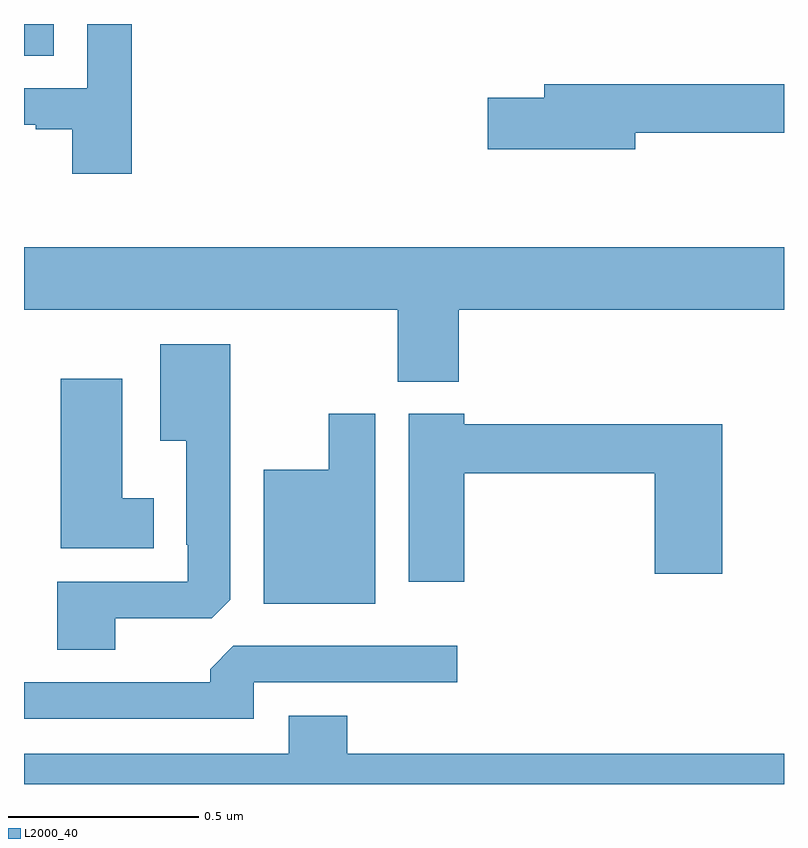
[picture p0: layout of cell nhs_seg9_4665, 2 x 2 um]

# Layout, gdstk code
import gdstk
lib = gdstk.Library(unit=1e-6, precision=1e-09)
def R(c, l, rs):  # rectangles x0, y0, x1, y1
    for r in rs: c.add(gdstk.rectangle(r[:2], r[2:], *l))
def P(c, l, *ps):  # polygons
    for p in ps: c.add(gdstk.Polygon(p, *l))
L2000_40 = (2000, 40)

nhs_seg9_4665 = lib.new_cell('nhs_seg9_4665')
R(nhs_seg9_4665, L2000_40, [(169,1202.416,169.078,1202.5)])
P(nhs_seg9_4665, L2000_40, [(169.283,1202.5),(169.167,1202.5),(169.167,1202.331),(169,1202.331),(169,1202.235),(169.031,1202.235),(169.031,1202.223),(169.127,1202.223),(169.127,1202.106),(169.283,1202.106)],
  [(170.608,1202.214),(171,1202.214),(171,1202.342),(170.369,1202.342),(170.369,1202.306),(170.22,1202.306),(170.22,1202.171),(170.608,1202.171)],
  [(170.144,1201.748),(171,1201.748),(171,1201.912),(169,1201.912),(169,1201.748),(169.984,1201.748),(169.984,1201.559),(170.144,1201.559)],
  [(169.24,1200.936),(169.494,1200.936),(169.543,1200.985),(169.543,1201.657),(169.358,1201.657),(169.358,1201.403),(169.427,1201.403),(169.427,1201.129),(169.431,1201.129),(169.431,1201.032),(169.088,1201.032),(169.088,1200.853),(169.24,1200.853)],
  [(169.342,1201.252),(169.258,1201.252),(169.258,1201.567),(169.097,1201.567),(169.097,1201.121),(169.342,1201.121)],
  [(169.924,1201.474),(169.802,1201.474),(169.802,1201.327),(169.631,1201.327),(169.631,1200.974),(169.924,1200.974)],
  [(170.159,1201.318),(170.66,1201.318),(170.66,1201.053),(170.838,1201.053),(170.838,1201.447),(170.159,1201.447),(170.159,1201.474),(170.012,1201.474),(170.012,1201.032),(170.159,1201.032)],
  [(169.605,1200.768),(170.14,1200.768),(170.14,1200.864),(169.551,1200.864),(169.49,1200.802),(169.49,1200.768),(169,1200.768),(169,1200.672),(169.605,1200.672)],
  [(171,1200.58),(169.85,1200.58),(169.85,1200.679),(169.697,1200.679),(169.697,1200.58),(169,1200.58),(169,1200.5),(171,1200.5)])

lib.write_gds('nhs_seg9_4665.gds')
